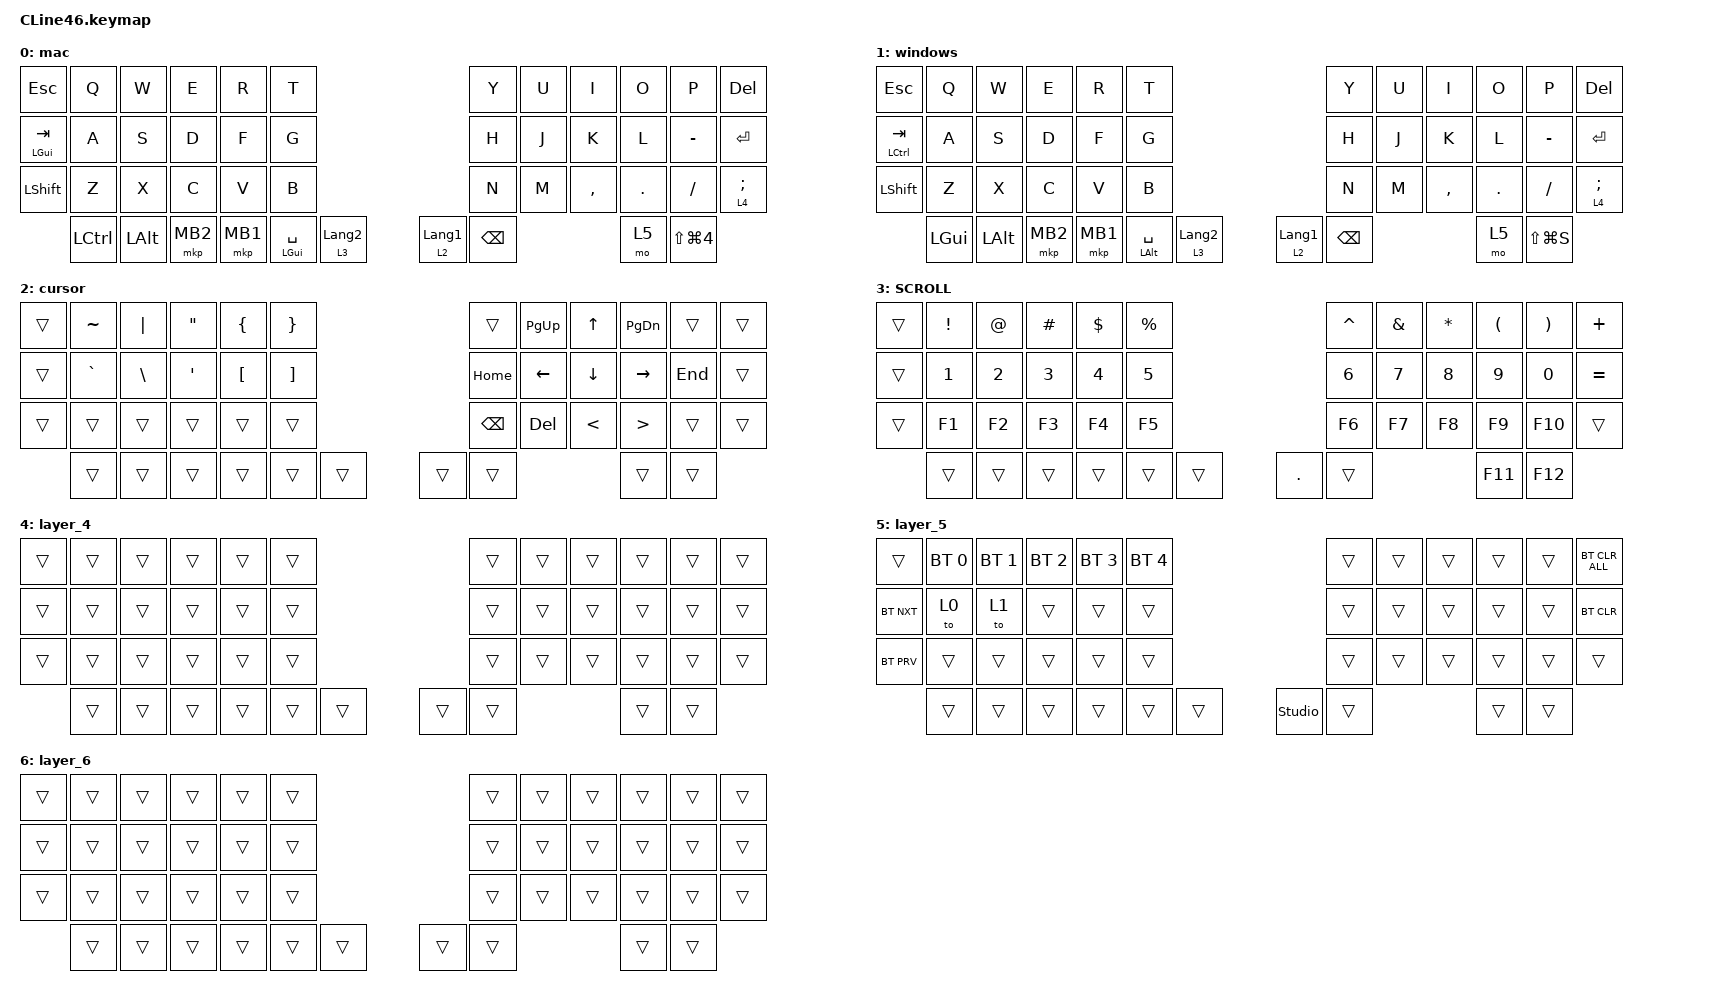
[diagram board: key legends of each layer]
#include <input/processors.dtsi>
#include <dt-bindings/zmk/input_transform.h>
#include <zephyr/dt-bindings/input/input-event-codes.h>
#include <behaviors.dtsi>
#include <dt-bindings/zmk/bt.h>
#include <dt-bindings/zmk/keys.h>
#include <dt-bindings/zmk/pointing.h>

&mt {
    flavor = "balanced";
    quick-tap-ms = <0>;
};

/ {
    combos {
        compatible = "zmk,combos";

        tab {
            bindings = <&kp TAB>;
            key-positions = <11 12>;
        };

        shift_tab {
            bindings = <&kp LS(TAB)>;
            key-positions = <12 13>;
        };
    };

    macros {
        to_layer_0: to_layer_0 {
            compatible = "zmk,behavior-macro-one-param";
            #binding-cells = <1>;
            bindings = <&to 0 &macro_param_1to1 &kp MACRO_PLACEHOLDER>;
            label = "TO_LAYER_0";
        };
    };

    behaviors {
        lt_to_layer_0: lt_to_layer_0 {
            compatible = "zmk,behavior-hold-tap";
            label = "LAYER_TAP_TO_0";
            bindings = <&mo>, <&to_layer_0>;

            #binding-cells = <2>;
            tapping-term-ms = <200>;
        };
    };

    keymap {
        compatible = "zmk,keymap";

        mac {
            bindings = <
&kp ESCAPE        &kp Q      &kp W         &kp E     &kp R     &kp T                                                     &kp Y     &kp U  &kp I      &kp O    &kp P           &kp DELETE
&mt LEFT_GUI TAB  &kp A      &kp S         &kp D     &kp F     &kp G                                                     &kp H     &kp J  &kp K      &kp L    &kp MINUS       &kp RET
&kp LSHIFT        &kp Z      &kp X         &kp C     &kp V     &kp B                                                     &kp N     &kp M  &kp COMMA  &kp DOT  &kp SLASH       &lt 4 SEMICOLON
                  &kp LCTRL  &kp LEFT_ALT  &mkp MB2  &mkp MB1  &mt LEFT_GUI SPACE  &lt 3 LANGUAGE_2    &lt 2 LANGUAGE_1  &kp BSPC                    &mo 5    &kp LS(LG(N4))
            >;
        };

        windows {
            bindings = <
&kp ESCAPE     &kp Q         &kp W         &kp E     &kp R     &kp T                                                     &kp Y     &kp U  &kp I      &kp O    &kp P          &kp DELETE
&mt LCTRL TAB  &kp A         &kp S         &kp D     &kp F     &kp G                                                     &kp H     &kp J  &kp K      &kp L    &kp MINUS      &kp RET
&kp LSHIFT     &kp Z         &kp X         &kp C     &kp V     &kp B                                                     &kp N     &kp M  &kp COMMA  &kp DOT  &kp SLASH      &lt 4 SEMICOLON
               &kp LEFT_GUI  &kp LEFT_ALT  &mkp MB2  &mkp MB1  &mt LEFT_ALT SPACE  &lt 3 LANGUAGE_2    &lt 2 LANGUAGE_1  &kp BSPC                    &mo 5    &kp LS(LG(S))
            >;
        };

        cursor {
            bindings = <
&trans  &kp TILDE  &kp PIPE       &kp DQT  &kp LBRC          &kp RBRC                             &trans         &kp PAGE_UP     &kp UP_ARROW  &kp PAGE_DOWN  &trans   &trans
&trans  &kp GRAVE  &kp BACKSLASH  &kp SQT  &kp LEFT_BRACKET  &kp RIGHT_BRACKET                    &kp HOME       &kp LEFT_ARROW  &kp DOWN_ARROW  &kp RIGHT      &kp END  &trans
&trans  &trans     &trans         &trans   &trans            &trans                               &kp BACKSPACE  &kp DELETE      &kp LT        &kp GT         &trans   &trans
        &trans     &trans         &trans   &trans            &trans             &trans    &trans  &trans                                       &trans         &trans
            >;
        };

        SCROLL {
            bindings = <
&trans  &kp EXCLAMATION  &kp AT_SIGN  &kp POUND  &kp DOLLAR  &kp PERCENT                        &kp CARET  &kp AMPS  &kp ASTERISK  &kp LPAR  &kp RPAR  &kp PLUS
&trans  &kp N1           &kp N2       &kp N3     &kp N4      &kp N5                             &kp N6     &kp N7    &kp N8        &kp N9    &kp N0    &kp EQUAL
&trans  &kp F1           &kp F2       &kp F3     &kp F4      &kp F5                             &kp F6     &kp F7    &kp F8        &kp F9    &kp F10   &trans
        &trans           &trans       &trans     &trans      &trans       &trans    &kp PERIOD  &trans                             &kp F11   &kp F12
            >;
        };

        layer_4 {
            bindings = <
&trans  &trans  &trans  &trans  &trans  &trans                    &trans  &trans  &trans  &trans  &trans  &trans
&trans  &trans  &trans  &trans  &trans  &trans                    &trans  &trans  &trans  &trans  &trans  &trans
&trans  &trans  &trans  &trans  &trans  &trans                    &trans  &trans  &trans  &trans  &trans  &trans
        &trans  &trans  &trans  &trans  &trans  &trans    &trans  &trans                  &trans  &trans
            >;
        };

        layer_5 {
            bindings = <
&trans      &bt BT_SEL 0  &bt BT_SEL 1  &bt BT_SEL 2  &bt BT_SEL 3  &bt BT_SEL 4                            &trans  &trans  &trans  &trans  &trans  &bt BT_CLR_ALL
&bt BT_NXT  &to 0         &to 1         &trans        &trans        &trans                                  &trans  &trans  &trans  &trans  &trans  &bt BT_CLR
&bt BT_PRV  &trans        &trans        &trans        &trans        &trans                                  &trans  &trans  &trans  &trans  &trans  &trans
            &trans        &trans        &trans        &trans        &trans        &trans    &studio_unlock  &trans                  &trans  &trans
            >;
        };

        layer_6 {
            bindings = <
&trans  &trans  &trans  &trans  &trans  &trans                    &trans  &trans  &trans  &trans  &trans  &trans
&trans  &trans  &trans  &trans  &trans  &trans                    &trans  &trans  &trans  &trans  &trans  &trans
&trans  &trans  &trans  &trans  &trans  &trans                    &trans  &trans  &trans  &trans  &trans  &trans
        &trans  &trans  &trans  &trans  &trans  &trans    &trans  &trans                  &trans  &trans
            >;
        };
    };
};
